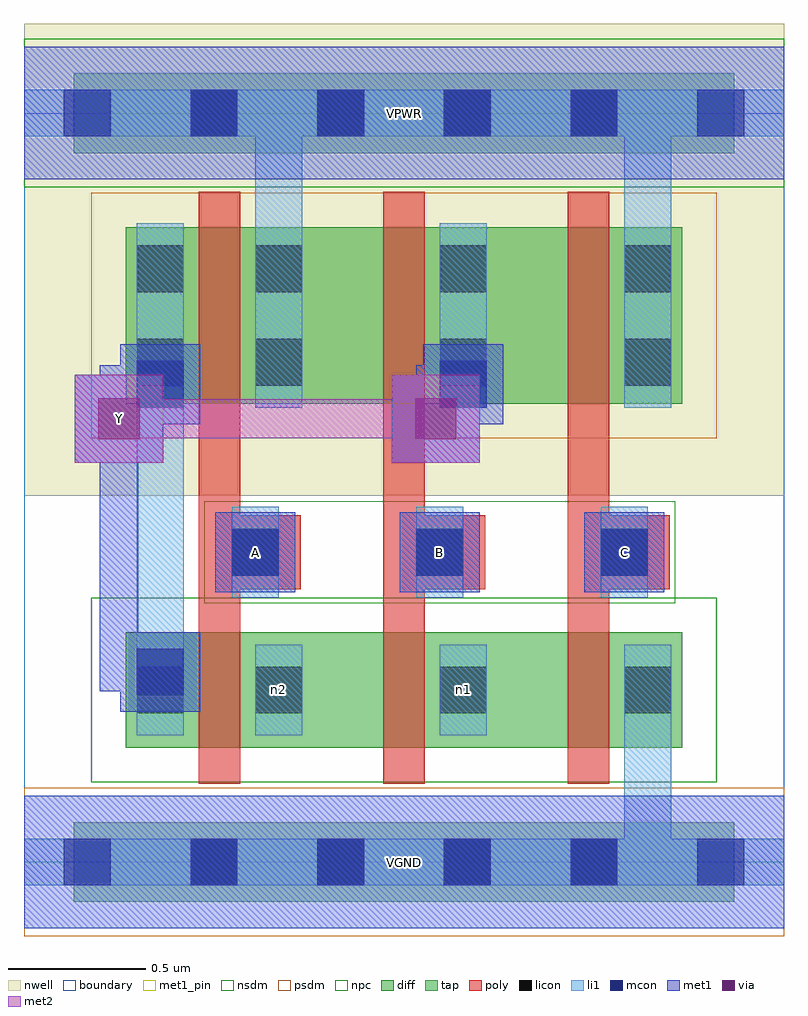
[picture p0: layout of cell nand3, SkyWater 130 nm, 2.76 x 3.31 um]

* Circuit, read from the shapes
.subckt nand3 A B C VGND VPWR Y n1 n2
XM1 n2 A Y VGND sky130_fd_pr__nfet_01v8 w=0.42 l=0.15
XM2 n1 B n2 VGND sky130_fd_pr__nfet_01v8 w=0.42 l=0.15
XM3 VGND C n1 VGND sky130_fd_pr__nfet_01v8 w=0.42 l=0.15
XM4 VPWR A Y VPWR sky130_fd_pr__pfet_01v8 w=0.64 l=0.15
XM5 Y B VPWR VPWR sky130_fd_pr__pfet_01v8 w=0.64 l=0.15
XM6 VPWR C Y VPWR sky130_fd_pr__pfet_01v8 w=0.64 l=0.15
.ends

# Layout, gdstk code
import gdstk
lib = gdstk.Library(unit=1e-6, precision=1e-09)
def R(c, l, rs):  # rectangles x0, y0, x1, y1
    for r in rs: c.add(gdstk.rectangle(r[:2], r[2:], *l))
def A(c, l, x, y, w, h, nx, ny, dx, dy):  # array of equal rectangles
    R(c, l, [(x+i*dx, y+j*dy, x+i*dx+w, y+j*dy+h) for i in range(nx) for j in range(ny)])
nwell = (64, 20)
diff = (65, 20)
tap = (65, 44)
poly = (66, 20)
licon = (66, 44)
li1 = (67, 20)
mcon = (67, 44)
met1_pin = (68, 16)
met1 = (68, 20)
via = (68, 44)
met2 = (69, 20)
nsdm = (93, 44)
psdm = (94, 20)
npc = (95, 20)
boundary = (235, 4)

nand3 = lib.new_cell('nand3')
R(nand3, nwell, [(0,1.33,2.76,3.045)])
R(nand3, diff, [(0.37,0.415,2.39,0.835), (0.37,1.665,2.39,2.305)])
R(nand3, tap, [(0.18,-0.145,2.58,0.145), (0.18,2.575,2.58,2.865)])
A(nand3, poly, 0.635, 0.285, 0.15, 2.15, 3, 1, 0.67, 0)
A(nand3, poly, 0.675, 0.99, 0.33, 0.27, 3, 1, 0.67, 0)
A(nand3, licon, 0.605, -0.085, 0.17, 0.17, 4, 2, 0.46, 2.72)
A(nand3, licon, 0.84, 0.54, 0.17, 0.17, 3, 2, 0.67, 1.19)
A(nand3, licon, 0.755, 1.04, 0.17, 0.17, 3, 1, 0.67, 0)
A(nand3, licon, 0.84, 2.07, 0.17, 0.17, 3, 1, 0.67, 0)
R(nand3, licon, [(0.41,0.54,0.58,0.71), (0.41,1.73,0.58,1.9), (0.41,2.07,0.58,2.24)])
A(nand3, li1, 0.84, 0.46, 0.17, 0.33, 3, 1, 0.67, 0)
A(nand3, li1, 0.755, 0.96, 0.17, 0.33, 3, 1, 0.67, 0)
A(nand3, li1, 0.84, 1.65, 0.17, 0.67, 3, 1, 0.67, 0)
R(nand3, li1, [(0,-0.085,2.76,0.085), (2.18,-0.085,2.35,0.79), (0.41,0.46,0.58,0.79), (0.41,0.46,0.58,2.32), (0.41,1.65,0.58,2.32), (0.84,1.65,1.01,2.805), (2.18,1.65,2.35,2.805), (0,2.635,2.76,2.805)])
A(nand3, mcon, 0.145, -0.085, 0.17, 0.17, 6, 2, 0.46, 2.72)
A(nand3, mcon, 0.755, 1.04, 0.17, 0.17, 3, 1, 0.67, 0)
R(nand3, mcon, [(0.41,0.605,0.58,0.775), (0.41,1.65,0.58,1.82), (1.51,1.65,1.68,1.82)])
A(nand3, met1_pin, 0.695, 0.98, 0.29, 0.29, 3, 1, 0.67, 0)
R(nand3, met1_pin, [(0,-0.24,2.76,0.24), (0.185,1.45,0.505,1.77), (0,2.48,2.76,2.96)])
A(nand3, met1, 0.695, 0.98, 0.29, 0.29, 3, 1, 0.67, 0)
R(nand3, met1, [(0,-0.24,2.76,0.24), (0.35,0.545,0.64,0.835), (0.275,0.62,0.565,0.76), (0.275,0.62,0.415,1.68), (0.185,1.45,0.505,1.77), (1.335,1.45,1.655,1.77), (0.275,1.54,0.415,1.805), (1.425,1.54,1.565,1.805), (0.35,1.59,0.64,1.88), (1.45,1.59,1.74,1.88), (0.275,1.665,0.565,1.805), (1.425,1.665,1.665,1.805), (0,2.48,2.76,2.96)])
R(nand3, via, [(0.27,1.535,0.42,1.685), (1.42,1.535,1.57,1.685)])
R(nand3, met2, [(0.185,1.45,0.505,1.77), (1.335,1.45,1.655,1.77), (0.275,1.54,1.565,1.68)])
R(nand3, nsdm, [(0.245,0.29,2.515,0.96), (0,2.45,2.76,2.99)])
R(nand3, psdm, [(0,-0.27,2.76,0.27), (0.245,1.54,2.515,2.43)])
R(nand3, npc, [(0.655,0.94,2.365,1.31)])
R(nand3, boundary, [(0,0,2.76,2.72)])
nand3.add(gdstk.Label('n2', (0.925,0.625), layer=67, texttype=5))
nand3.add(gdstk.Label('n1', (1.595,0.625), layer=67, texttype=5))
nand3.add(gdstk.Label('A', (0.84,1.125), layer=68, texttype=5))
nand3.add(gdstk.Label('B', (1.51,1.125), layer=68, texttype=5))
nand3.add(gdstk.Label('C', (2.18,1.125), layer=68, texttype=5))
nand3.add(gdstk.Label('Y', (0.345,1.61), layer=68, texttype=5))
nand3.add(gdstk.Label('VPWR', (1.38,2.72), layer=68, texttype=5))
nand3.add(gdstk.Label('VGND', (1.38,0), layer=68, texttype=5))
nand3.add(gdstk.Label('A', (0.84,1.125), layer=68, texttype=16))
nand3.add(gdstk.Label('B', (1.51,1.125), layer=68, texttype=16))
nand3.add(gdstk.Label('C', (2.18,1.125), layer=68, texttype=16))
nand3.add(gdstk.Label('Y', (0.345,1.61), layer=68, texttype=16))
nand3.add(gdstk.Label('VPWR', (1.38,2.72), layer=68, texttype=16))
nand3.add(gdstk.Label('VGND', (1.38,0), layer=68, texttype=16))

lib.write_gds('nand3.gds')
